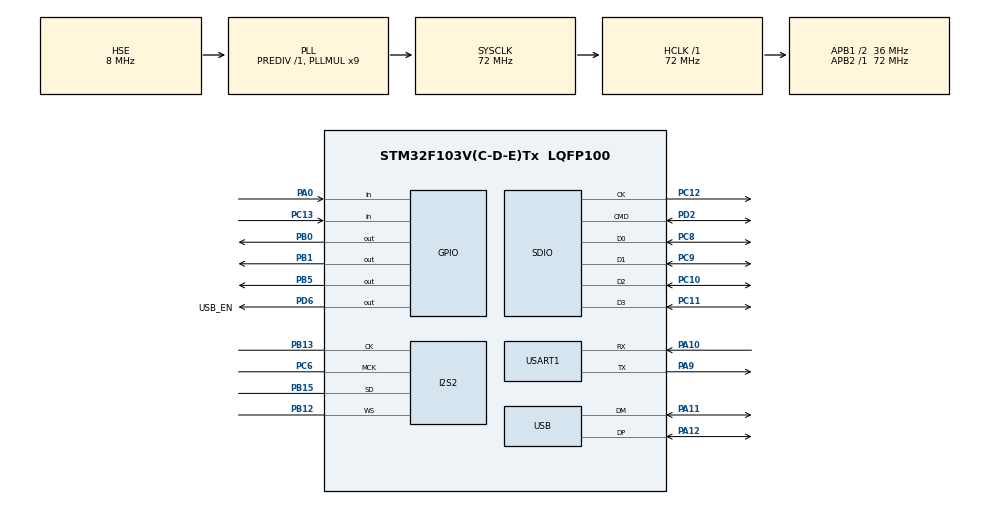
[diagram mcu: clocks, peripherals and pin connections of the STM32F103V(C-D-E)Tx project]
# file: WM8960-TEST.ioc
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Dma.Request0=SPI2_TX
Dma.SPI2_TX.0.Direction=DMA_MEMORY_TO_PERIPH
Dma.SPI2_TX.0.Instance=DMA1_Channel5
Dma.SPI2_TX.0.MemDataAlignment=DMA_MDATAALIGN_HALFWORD
Dma.SPI2_TX.0.MemInc=DMA_MINC_ENABLE
Dma.SPI2_TX.0.Mode=DMA_NORMAL
Dma.SPI2_TX.0.PeriphDataAlignment=DMA_PDATAALIGN_HALFWORD
Dma.SPI2_TX.0.PeriphInc=DMA_PINC_DISABLE
Dma.SPI2_TX.0.Priority=DMA_PRIORITY_LOW
FATFS._CODE_PAGE=936
FATFS._FS_LOCK=50
FATFS._FS_REENTRANT=0
FATFS._MAX_LFN=100
FATFS._USE_FIND=1
FATFS._USE_LFN=2
FREERTOS.INCLUDE_vTaskDelayUntil=1
FREERTOS.MEMORY_ALLOCATION=1
FREERTOS.Tasks01=defaultTask,0,1024,StartDefaultTask,Default,NULL,Static,defaultTaskBuffer,defaultTaskControlBlock;mainTask,0,1024,StartMainTask,Default,NULL,Static,MainTaskBuffer,MainTaskControlBlock
I2S2.AudioFreq=I2S_AUDIOFREQ_16K
I2S2.DataFormat=I2S_DATAFORMAT_16B
I2S2.ErrorAudioFreq=-2.34 %
I2S2.Instance=SPI$Index
I2S2.MCLKOutput=I2S_MCLKOUTPUT_ENABLE
I2S2.RealAudioFreq=15.625 KHz
I2S2.VirtualMode=I2S_MODE_MASTER
Mcu.Family=STM32F1
Mcu.Name=STM32F103V(C-D-E)Tx
Mcu.Package=LQFP100
NVIC.DMA1_Channel5_IRQn=true\:5\:0\:false\:false\:true\:true\:false\:true\:true
NVIC.PriorityGroup=NVIC_PRIORITYGROUP_4
NVIC.SDIO_IRQn=true\:6\:0\:true\:false\:true\:true\:true\:true\:true
NVIC.TIM1_UP_IRQn=true\:15\:0\:false\:false\:true\:false\:false\:true\:true
NVIC.TimeBase=TIM1_UP_IRQn
NVIC.TimeBaseIP=TIM1
NVIC.USB_LP_CAN1_RX0_IRQn=true\:7\:0\:true\:false\:true\:true\:false\:true\:true
OSC_IN.Mode=HSE-External-Oscillator
OSC_IN.Signal=RCC_OSC_IN
OSC_OUT.Mode=HSE-External-Oscillator
OSC_OUT.Signal=RCC_OSC_OUT
PA0-WKUP.GPIO_PuPd=GPIO_PULLDOWN
PA0-WKUP.Signal=GPIO_Input
PA10.Mode=Asynchronous
PA10.Signal=USART1_RX
PA11.Mode=Device
PA11.Signal=USB_DM
PA12.Mode=Device
PA12.Signal=USB_DP
PA13.Mode=Serial_Wire
PA13.Signal=SYS_JTMS-SWDIO
PA14.Mode=Serial_Wire
PA14.Signal=SYS_JTCK-SWCLK
PA9.Mode=Asynchronous
PA9.Signal=USART1_TX
PB0.PinState=GPIO_PIN_SET
PB0.Signal=GPIO_Output
PB1.PinState=GPIO_PIN_SET
PB1.Signal=GPIO_Output
PB12.GPIO_Speed=GPIO_SPEED_FREQ_MEDIUM
PB12.Mode=Half_Duplex_Master_TX
PB12.Signal=I2S2_WS
PB13.GPIO_Speed=GPIO_SPEED_FREQ_MEDIUM
PB13.Mode=Half_Duplex_Master_TX
PB13.Signal=I2S2_CK
PB15.GPIO_Speed=GPIO_SPEED_FREQ_MEDIUM
PB15.Mode=Half_Duplex_Master_TX
PB15.Signal=I2S2_SD
PB5.PinState=GPIO_PIN_SET
PB5.Signal=GPIO_Output
PC10.Mode=SD_4_bits_Wide_bus
PC10.Signal=SDIO_D2
PC11.Mode=SD_4_bits_Wide_bus
PC11.Signal=SDIO_D3
PC12.Mode=SD_4_bits_Wide_bus
PC12.Signal=SDIO_CK
PC13-TAMPER-RTC.GPIO_PuPd=GPIO_PULLDOWN
PC13-TAMPER-RTC.Signal=GPIO_Input
PC14-OSC32_IN.Mode=LSE-External-Oscillator
PC14-OSC32_IN.Signal=RCC_OSC32_IN
PC15-OSC32_OUT.Mode=LSE-External-Oscillator
PC15-OSC32_OUT.Signal=RCC_OSC32_OUT
PC6.GPIO_Speed=GPIO_SPEED_FREQ_MEDIUM
PC6.Mode=Master_Clock_Activated
PC6.Signal=I2S2_MCK
PC8.Mode=SD_4_bits_Wide_bus
PC8.Signal=SDIO_D0
PC9.Mode=SD_4_bits_Wide_bus
PC9.Signal=SDIO_D1
PD2.Mode=SD_4_bits_Wide_bus
PD2.Signal=SDIO_CMD
PD6.GPIO_Label=USB_EN
PD6.PinState=GPIO_PIN_SET
PD6.Signal=GPIO_Output
ProjectManager.HeapSize=0x1000
ProjectManager.StackSize=0x1000
ProjectManager.TargetToolchain=STM32CubeIDE
RCC.AHBFreq_Value=72000000
RCC.APB1CLKDivider=RCC_HCLK_DIV2
RCC.APB1Freq_Value=36000000
RCC.APB1TimFreq_Value=72000000
RCC.APB2Freq_Value=72000000
RCC.APB2TimFreq_Value=72000000
RCC.HCLKFreq_Value=72000000
RCC.PLLMUL=RCC_PLL_MUL9
RCC.SYSCLKFreq_VALUE=72000000
RCC.SYSCLKSource=RCC_SYSCLKSOURCE_PLLCLK
RCC.USBFreq_Value=48000000
RCC.USBPrescaler=RCC_USBCLKSOURCE_PLL_DIV1_5
SDIO.ClockDiv=1
SDIO.HardwareFlowControl=SDIO_HARDWARE_FLOW_CONTROL_ENABLE
USART1.VirtualMode=VM_ASYNC
USB_DEVICE.CLASS_NAME_FS=MSC
USB_DEVICE.MSC_MEDIA_PACKET=1024
USB_DEVICE.VirtualMode=Msc
USB_DEVICE.VirtualModeFS=Msc_FS
VP_FATFS_VS_SDIO.Mode=SDIO
VP_FREERTOS_VS_CMSIS_V1.Mode=CMSIS_V1
VP_SYS_VS_tim1.Mode=TIM1
VP_USB_DEVICE_VS_USB_DEVICE_MSC_FS.Mode=MSC_FS
board=custom

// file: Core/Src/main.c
/* USER CODE BEGIN Header */
/**
  ******************************************************************************
  * @file           : main.c
  * @brief          : Main program body
  ******************************************************************************
  * @attention
  *
  * Copyright (c) 2024 STMicroelectronics.
  * All rights reserved.
  *
  * This software is licensed under terms that can be found in the LICENSE file
  * in the root directory of this software component.
  * If no LICENSE file comes with this software, it is provided AS-IS.
  *
  ******************************************************************************
  */
/* USER CODE END Header */
#include "main.h"
#include "cmsis_os.h"
#include "dma.h"
#include "fatfs.h"
#include "i2s.h"
#include "sdio.h"
#include "usart.h"
#include "usb_device.h"
#include "gpio.h"

/* USER CODE BEGIN Includes */
#include "stdio.h"
/* USER CODE END Includes */

void SystemClock_Config(void);
void MX_FREERTOS_Init(void);

/* USER CODE BEGIN 0 */

int _write(int fd, char *ptr, int len)
{
  HAL_UART_Transmit(&huart1, (uint8_t*)ptr, len, 0xFFFF);
  return len;
}

/* USER CODE END 0 */

int main(void)
{

  /* MCU Configuration--------------------------------------------------------*/

  /* Reset of all peripherals, Initializes the Flash interface and the Systick. */
  HAL_Init();

  /* Configure the system clock */
  SystemClock_Config();

  /* Initialize all configured peripherals */
  MX_GPIO_Init();
  MX_DMA_Init();
  MX_SDIO_SD_Init();
  MX_USART1_UART_Init();
  MX_I2S2_Init();
  MX_FATFS_Init();
  /* USER CODE BEGIN 2 */
  HAL_NVIC_SetPriority(DMA1_Channel4_IRQn, 5, 0);
  HAL_NVIC_EnableIRQ(DMA1_Channel4_IRQn);
  printf("%d\n",f_mount(&SDFatFS,SDPath,0));
  HAL_Delay(1000);
  /* USER CODE END 2 */

  /* Call init function for freertos objects (in freertos.c) */
  MX_FREERTOS_Init();

  /* Start scheduler */
  osKernelStart();

  /* We should never get here as control is now taken by the scheduler */
  /* Infinite loop */
  while (1)
  {

  }
}

void SystemClock_Config(void)
{
  RCC_OscInitTypeDef RCC_OscInitStruct = {0};
  RCC_ClkInitTypeDef RCC_ClkInitStruct = {0};
  RCC_PeriphCLKInitTypeDef PeriphClkInit = {0};

  /** Initializes the RCC Oscillators according to the specified parameters
  * in the RCC_OscInitTypeDef structure.
  */
  RCC_OscInitStruct.OscillatorType = RCC_OSCILLATORTYPE_HSE;
  RCC_OscInitStruct.HSEState = RCC_HSE_ON;
  RCC_OscInitStruct.HSEPredivValue = RCC_HSE_PREDIV_DIV1;
  RCC_OscInitStruct.HSIState = RCC_HSI_ON;
  RCC_OscInitStruct.PLL.PLLState = RCC_PLL_ON;
  RCC_OscInitStruct.PLL.PLLSource = RCC_PLLSOURCE_HSE;
  RCC_OscInitStruct.PLL.PLLMUL = RCC_PLL_MUL9;
  if (HAL_RCC_OscConfig(&RCC_OscInitStruct) != HAL_OK)
  {
    Error_Handler();
  }

  /** Initializes the CPU, AHB and APB buses clocks
  */
  RCC_ClkInitStruct.ClockType = RCC_CLOCKTYPE_HCLK|RCC_CLOCKTYPE_SYSCLK
                              |RCC_CLOCKTYPE_PCLK1|RCC_CLOCKTYPE_PCLK2;
  RCC_ClkInitStruct.SYSCLKSource = RCC_SYSCLKSOURCE_PLLCLK;
  RCC_ClkInitStruct.AHBCLKDivider = RCC_SYSCLK_DIV1;
  RCC_ClkInitStruct.APB1CLKDivider = RCC_HCLK_DIV2;
  RCC_ClkInitStruct.APB2CLKDivider = RCC_HCLK_DIV1;

  if (HAL_RCC_ClockConfig(&RCC_ClkInitStruct, FLASH_LATENCY_2) != HAL_OK)
  {
    Error_Handler();
  }
  PeriphClkInit.PeriphClockSelection = RCC_PERIPHCLK_I2S2|RCC_PERIPHCLK_USB;
  PeriphClkInit.I2s2ClockSelection = RCC_I2S2CLKSOURCE_SYSCLK;
  PeriphClkInit.UsbClockSelection = RCC_USBCLKSOURCE_PLL_DIV1_5;
  if (HAL_RCCEx_PeriphCLKConfig(&PeriphClkInit) != HAL_OK)
  {
    Error_Handler();
  }
}

void HAL_TIM_PeriodElapsedCallback(TIM_HandleTypeDef *htim)
{
  if (htim->Instance == TIM1) {
    HAL_IncTick();
  }
}

void Error_Handler(void)
{
  __disable_irq();
  while (1)
  {
  }
}

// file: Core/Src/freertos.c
/* USER CODE BEGIN Header */
/**
  ******************************************************************************
  * File Name          : freertos.c
  * Description        : Code for freertos applications
  ******************************************************************************
  * @attention
  *
  * Copyright (c) 2024 STMicroelectronics.
  * All rights reserved.
  *
  * This software is licensed under terms that can be found in the LICENSE file
  * in the root directory of this software component.
  * If no LICENSE file comes with this software, it is provided AS-IS.
  *
  ******************************************************************************
  */
/* USER CODE END Header */

#include "FreeRTOS.h"
#include "task.h"
#include "main.h"
#include "cmsis_os.h"

/* USER CODE BEGIN Includes */
#include "bsp_key.h"
#include "WM8960Apps.h"
#include "stdio.h"
#include "sdio.h"
#include "WM8960.h"
/* USER CODE END Includes */

osThreadId defaultTaskHandle;
uint32_t defaultTaskBuffer[ 1024 ];
osStaticThreadDef_t defaultTaskControlBlock;
osThreadId mainTaskHandle;
uint32_t MainTaskBuffer[ 1024 ];
osStaticThreadDef_t MainTaskControlBlock;

void StartDefaultTask(void const * argument);
void StartMainTask(void const * argument);

extern void MX_USB_DEVICE_Init(void);
void MX_FREERTOS_Init(void); /* (MISRA C 2004 rule 8.1) */

/* GetIdleTaskMemory prototype (linked to static allocation support) */
void vApplicationGetIdleTaskMemory( StaticTask_t **ppxIdleTaskTCBBuffer, StackType_t **ppxIdleTaskStackBuffer, uint32_t *pulIdleTaskStackSize );

/* USER CODE BEGIN GET_IDLE_TASK_MEMORY */
static StaticTask_t xIdleTaskTCBBuffer;
static StackType_t xIdleStack[configMINIMAL_STACK_SIZE];

void vApplicationGetIdleTaskMemory( StaticTask_t **ppxIdleTaskTCBBuffer, StackType_t **ppxIdleTaskStackBuffer, uint32_t *pulIdleTaskStackSize )
{
  *ppxIdleTaskTCBBuffer = &xIdleTaskTCBBuffer;
  *ppxIdleTaskStackBuffer = &xIdleStack[0];
  *pulIdleTaskStackSize = configMINIMAL_STACK_SIZE;
  /* place for user code */
}
/* USER CODE END GET_IDLE_TASK_MEMORY */

void MX_FREERTOS_Init(void) {

  /* Create the thread(s) */
  /* definition and creation of defaultTask */
  osThreadStaticDef(defaultTask, StartDefaultTask, osPriorityNormal, 0, 1024, defaultTaskBuffer, &defaultTaskControlBlock);
  defaultTaskHandle = osThreadCreate(osThread(defaultTask), NULL);

  /* definition and creation of mainTask */
  osThreadStaticDef(mainTask, StartMainTask, osPriorityNormal, 0, 1024, MainTaskBuffer, &MainTaskControlBlock);
  mainTaskHandle = osThreadCreate(osThread(mainTask), NULL);

  /* USER CODE BEGIN RTOS_THREADS */
  vTaskSuspend(mainTaskHandle);
  /* USER CODE END RTOS_THREADS */

}

void StartDefaultTask(void const * argument)
{
  /* init code for USB_DEVICE */
  MX_USB_DEVICE_Init();
  /* USER CODE BEGIN StartDefaultTask */
  //HAL_GPIO_WritePin(USB_EN_GPIO_Port, USB_EN_Pin, GPIO_PIN_RESET);
  static portTickType PreviousWakeTime;
  const portTickType TimeIncrement = pdMS_TO_TICKS(50);
  PreviousWakeTime = xTaskGetTickCount();
  vTaskResume(mainTaskHandle);

  /* Infinite loop */
  for(;;)
  {
    KeyHandlerCore();
    vTaskDelayUntil(&PreviousWakeTime, TimeIncrement);
  }
  /* USER CODE END StartDefaultTask */
}

void StartMainTask(void const * argument)
{
  /* USER CODE BEGIN StartMainTask */
  static portTickType PreviousWakeTime;
  const portTickType TimeIncrement = pdMS_TO_TICKS(50);
  PreviousWakeTime = xTaskGetTickCount();
  ScanWavefiles("0:/REC");
  /* Infinite loop */
  for(;;)
  {
//    PlayWaveFile(Play_List[Music_Num]);
    PlayWaveFile("0:Audios\\Everything and More.wav");
    RecordWaveFile("test_rec",16000);
    vTaskDelayUntil(&PreviousWakeTime, TimeIncrement);
  }
  /* USER CODE END StartMainTask */
}

/* USER CODE BEGIN Application */
void KeyProcessHandler(Key_Typedef keys){
  if(keys.k1 == CLICKED){
    if(audio_rec_state == AUDIO_RECORD || audio_rec_state == AUDIO_PAUSE){
      audio_rec_request = AUDIO_END;
      return;
    }
    if(audio_play_state == AUDIO_PLAY || audio_play_state == AUDIO_PAUSE || audio_play_state == AUDIO_END || audio_play_state == AUDIO_CANCEL || audio_play_state == AUDIO_NONE){
      printf("Previous!\r\n");
      if(Music_Num==0)
        Music_Num = Music_Num_MAX-1;
      else
        Music_Num --;
      if(audio_play_state == AUDIO_PLAY || audio_play_state == AUDIO_PAUSE) {
        audio_play_request = AUDIO_CANCEL;
        while (audio_play_state != AUDIO_CANCEL);
      }
      audio_play_request = AUDIO_PLAY;
    }
  }else if (keys.k1 == LONG_PRESSED){
    if(audio_play_state == AUDIO_PLAY || audio_play_state == AUDIO_PAUSE){
      audio_play_request = AUDIO_CANCEL;
      while (audio_play_state != AUDIO_CANCEL);
    }
    else{
      if(audio_rec_state == AUDIO_NONE || audio_rec_state == AUDIO_END || audio_rec_state == AUDIO_CANCEL)
        audio_rec_request = AUDIO_RECORD;
      else if(audio_rec_state == AUDIO_RECORD)
        audio_rec_request = AUDIO_PAUSE;
      else if(audio_rec_state == AUDIO_PAUSE)
        audio_rec_request = AUDIO_RESUME;
    }
  }
  if(keys.k2 == CLICKED){
    if(audio_rec_state == AUDIO_RECORD || audio_rec_state == AUDIO_PAUSE || audio_rec_state == AUDIO_END){
      audio_rec_request = AUDIO_CANCEL;
    }
    if(audio_play_state == AUDIO_PLAY || audio_play_state == AUDIO_PAUSE || audio_play_state == AUDIO_END || audio_play_state == AUDIO_NONE) {
      printf("Next!\r\n");
      if (Music_Num == Music_Num_MAX-1)
        Music_Num = 0;
      else
        Music_Num++;
      if(audio_play_state == AUDIO_PLAY || audio_play_state == AUDIO_PAUSE) {
        audio_play_request = AUDIO_CANCEL;
        while (audio_play_state != AUDIO_CANCEL);
      }
      audio_play_request = AUDIO_PLAY;
    }
  }else if(keys.k2 == LONG_PRESSED){
    if(audio_play_state == AUDIO_PLAY)
      audio_play_request = AUDIO_PAUSE;
    else if(audio_play_state == AUDIO_NONE || audio_play_state == AUDIO_END)
      audio_play_request = AUDIO_PLAY;
    else if(audio_play_state == AUDIO_PAUSE)
      audio_play_request = AUDIO_RESUME;
  }
}
/* USER CODE END Application */
